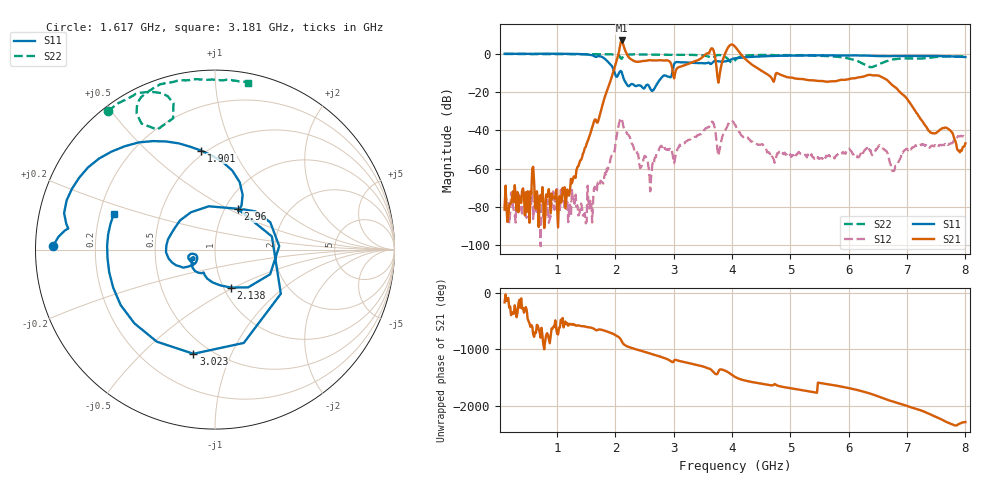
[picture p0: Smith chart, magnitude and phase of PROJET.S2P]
!Agilent Technologies,E5071C,MY46214845,A.10.06
!Date: Fri Jan 10 10:18:07 2025
!Data & Calibration Information:
!Freq	S11:SOLT2(ON)	S21:SOLT2(ON)	S12:SOLT2(ON)	S22:SOLT2(ON)
!PortZ  Port1:50+j0  Port2:50+j0
!Above PortZ is port z conversion or system Z0 setting when saving the data.
!When reading, reference impedance value at option line is always used.
# Hz S dB R 50
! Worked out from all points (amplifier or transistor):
!   501 points, 100 MHz to 8 GHz, reference 50 ohm
!   highest |S21| = 7.0 dB at 2.107 GHz (marker M1)
!   |S21| within 3 dB of that: 3.948 GHz to 4.042 GHz (94.25 MHz wide, 2.36 % of centre)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
!   unconditionally stable (mu >= 1): 147.3 MHz to 194.9 MHz; 558.1 MHz to 589.9 MHz; 1.174 GHz to end of sweep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
!   at 1.411 GHz: K = 3251.81, MAG = -26.7 dB, |S12| = -78.3 dB
!   at 4.05 GHz: K = 5.65, MAG = 9.9 dB, |S12| = -37.0 dB
!   at 8 GHz: K = 1293.52, MAG = -36.1 dB, |S12| = -42.9 dB
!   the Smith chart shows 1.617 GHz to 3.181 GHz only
!   S11 on the Smith chart (normalised r, x): 1.617 GHz: 0.05, +0.01; 1.901 GHz: 0.47, +0.75; 2.138 GHz: 1.08, -0.48; 2.96 GHz: 1.14, +0.56; 3.023 GHz: 0.41, -0.73; 3.181 GHz: 0.26, +0.16
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1e8  0.00 -8.6  -81.50 -170.2  -79.78 158.5  -0.04 176.5
1.1744e9  -0.01 -112.0  -70.97 -175.3  -76.16 134.0  -0.16 142.2
1.4272e9  -0.16 -146.3  -54.24 129.4  -80.59 4.7  -0.18 134.1
1.6168e9  -0.90 178.6  -37.02 90.8  -77.38 -158.7  -0.20 127.8
1.9012e9  -5.07 98.1  -15.36 17.5  -57.64 -167.3  -0.23 117.4
2.0434e9  -11.21 54.5  -1.11 -55.7  -39.41 135.2  -0.72 108.8
2.1066e9  -9.46 -24.1  7.01 -135.0  -33.97 25.1  -2.60 115.7
2.1382e9  -12.77 -67.0  4.34 175.6  -38.28 -17.6  -1.15 119.9
2.2646e9  -15.96 -126.0  -2.77 109.1  -45.28 -102.7  -0.32 110.7
2.7386e9  -14.65 -148.5  -3.36 -38.8  -50.69 -113.5  -0.45 93.6
2.9598e9  -11.70 61.1  -5.64 -135.6  -49.81 145.3  -0.48 86.6
3.023e9  -4.54 -101.7  -10.20 -104.1  -54.47 177.2  -0.46 84.4
3.181e9  -4.47 160.6  -5.96 -144.6  -46.87 131.7  -0.48 78.7
3.6392e9  -5.31 38.2  2.70 82.0  -35.75 -15.1  -2.00 61.5
3.734e9  -3.77 7.0  -7.49 -0.5  -45.70 -104.2  -0.76 64.4
3.9236e9  -3.71 -40.9  2.91 40.8  -37.42 -62.8  -2.58 44.4
4.05e9  -2.35 -72.7  3.75 -45.9  -36.99 -154.3  -3.33 67.7
4.3028e9  -1.62 -126.3  -4.72 -129.3  -44.87 142.9  -0.77 52.8
5.3772e9  -0.81 108.5  -13.82 48.1  -54.02 -7.6  -0.89 1.6
6.1356e9  -0.83 47.0  -12.57 85.2  -53.29 58.5  -3.53 -81.0
6.6886e9  -1.22 3.8  -14.63 -99.9  -54.64 -117.1  -3.49 65.0
8e9  -1.68 -149.9  -46.83 -123.9  -42.87 -63.4  -1.34 -43.3
